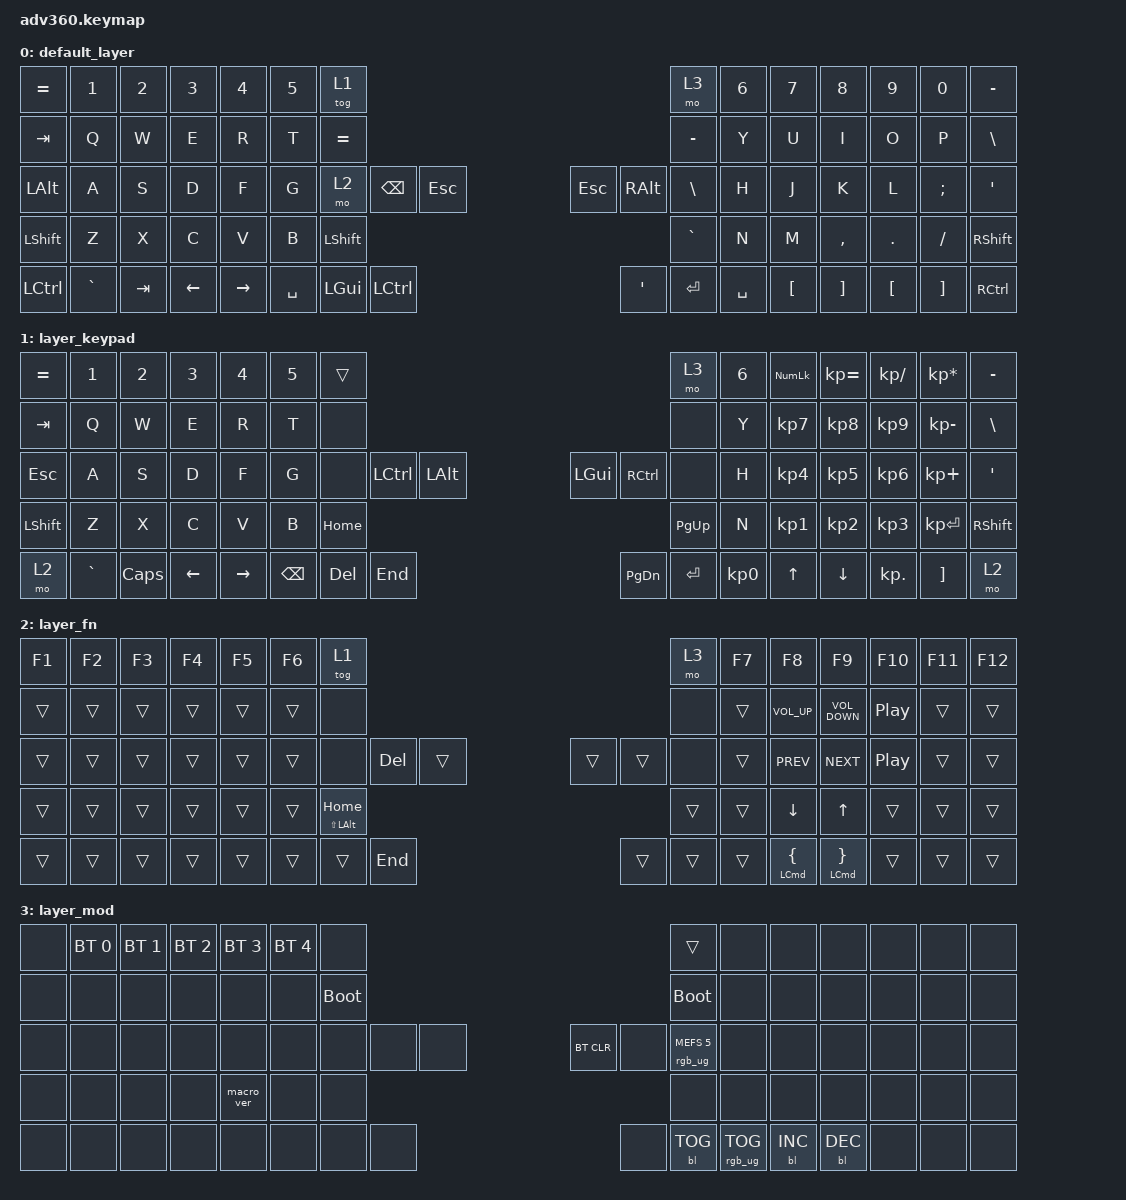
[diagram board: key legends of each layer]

/*
 * Copyright (c) 2020 The ZMK Contributors
 *
 * SPDX-License-Identifier: MIT
 */


/* THIS FILE WAS GENERATED!
 *
 * This file was generated automatically. You may or may not want to
 * edit it directly.
 */

#include <behaviors.dtsi>
#include <dt-bindings/zmk/keys.h>
#include <dt-bindings/zmk/bt.h>
#include <dt-bindings/zmk/rgb.h>
#include <dt-bindings/zmk/backlight.h>

/ {
  behaviors {
    #include "macros.dtsi"
    #include "version.dtsi"

    hm: homerow_mods {
        compatible = "zmk,behavior-hold-tap";
        label = "HOMEROW_MODS";
        #binding-cells = <2>;
        tapping-term-ms = <200>;
        quick_tap_ms = <175>;
        flavor = "tap-preferred";
        bindings = <&kp>, <&kp>;
    };
  };

    keymap {
        compatible = "zmk,keymap";


        default_layer {
            bindings = <
        &kp EQUAL     &kp N1   &kp N2    &kp N3     &kp N4  &kp N5               &tog 1                                                                                            &mo 3  &kp N6            &kp N7             &kp N8    &kp N9    &kp N0  &kp MINUS
          &kp TAB      &kp Q    &kp W     &kp E      &kp R   &kp T            &kp EQUAL                                                                                        &kp MINUS   &kp Y             &kp U              &kp I     &kp O     &kp P   &kp BSLH
     &kp LEFT_ALT      &kp A    &kp S     &kp D      &kp F   &kp G                &mo 2  &kp BACKSPACE        &kp ESCAPE                           &kp ESC  &kp RIGHT_ALT  &kp BACKSLASH   &kp H             &kp J              &kp K     &kp L  &kp SEMI    &kp SQT
        &kp LSHFT      &kp Z    &kp X     &kp C      &kp V   &kp B                                        &kp LEFT_SHIFT                         &kp GRAVE                                 &kp N             &kp M          &kp COMMA   &kp DOT  &kp FSLH  &kp RSHFT
 &kp LEFT_CONTROL  &kp GRAVE  &kp TAB  &kp LEFT  &kp RIGHT                    &kp SPACE   &kp LEFT_GUI  &kp LEFT_CONTROL                  &kp SINGLE_QUOTE      &kp ENTER      &kp SPACE          &kp LEFT_BRACKET  &kp RIGHT_BRACKET  &kp LBKT  &kp RBKT  &kp RCTRL
            >;
        };

        layer_keypad {
            bindings = <
 &kp EQUAL     &kp N1    &kp N2    &kp N3     &kp N4  &kp N5              &trans                                                                 &mo 3  &kp N6  &kp KP_NUM  &kp KP_EQUAL  &kp KP_DIVIDE  &kp KP_MULTIPLY  &kp MINUS
   &kp TAB      &kp Q     &kp W     &kp E      &kp R   &kp T               &none                                                                 &none   &kp Y   &kp KP_N7     &kp KP_N8      &kp KP_N9     &kp KP_MINUS   &kp BSLH
   &kp ESC      &kp A     &kp S     &kp D      &kp F   &kp G               &none  &kp LCTRL  &kp LALT                   &kp LGUI  &kp RCTRL      &none   &kp H   &kp KP_N4     &kp KP_N5      &kp KP_N6      &kp KP_PLUS    &kp SQT
 &kp LSHFT      &kp Z     &kp X     &kp C      &kp V   &kp B                                 &kp HOME                  &kp PG_UP                         &kp N   &kp KP_N1     &kp KP_N2      &kp KP_N3     &kp KP_ENTER  &kp RSHFT
     &mo 2  &kp GRAVE  &kp CAPS  &kp LEFT  &kp RIGHT                    &kp BSPC    &kp DEL   &kp END                  &kp PG_DN  &kp ENTER  &kp KP_N0              &kp UP      &kp DOWN     &kp KP_DOT         &kp RBKT      &mo 2
            >;
        };

        layer_fn {
            bindings = <
 &kp F1  &kp F2  &kp F3  &kp F4  &kp F5  &kp F6            &tog 1                                                                      &mo 3  &kp F7                       &kp F8                        &kp F9           &kp F10  &kp F11  &kp F12
 &trans  &trans  &trans  &trans  &trans  &trans             &none                                                                      &none  &trans              &kp C_VOLUME_UP             &kp C_VOLUME_DOWN  &kp C_PLAY_PAUSE   &trans   &trans
 &trans  &trans  &trans  &trans  &trans  &trans             &none  &kp DELETE                 &trans                  &trans  &trans   &none  &trans                   &kp C_PREV                    &kp C_NEXT          &kp C_PP   &trans   &trans
 &trans  &trans  &trans  &trans  &trans  &trans                                &mt LS(LEFT_ALT) HOME                  &trans                  &trans                     &kp DOWN                        &kp UP            &trans   &trans   &trans
 &trans  &trans  &trans  &trans  &trans                    &trans      &trans                &kp END                  &trans  &trans  &trans          &mt LEFT_COMMAND LEFT_BRACE  &mt LEFT_COMMAND RIGHT_BRACE            &trans   &trans   &trans
            >;
        };

        layer_mod {
            bindings = <
  &none  &bt BT_SEL 0  &bt BT_SEL 1  &bt BT_SEL 2  &bt BT_SEL 3  &bt BT_SEL 4                  &none                                                                          &trans   &none       &none       &none   &none   &none   &none
  &none         &none         &none         &none         &none         &none            &bootloader                                                                     &bootloader   &none       &none       &none   &none   &none   &none
  &none         &none         &none         &none         &none         &none                  &none   &none   &none                  &bt BT_CLR       &none  &rgb_ug RGB_MEFS_CMD 5   &none       &none       &none   &none   &none   &none
  &none         &none         &none         &none    &macro_ver         &none                                  &none                       &none                                       &none       &none       &none   &none   &none   &none
  &none         &none         &none         &none         &none                                &none   &none   &none                       &none  &bl BL_TOG         &rgb_ug RGB_TOG          &bl BL_INC  &bl BL_DEC   &none   &none   &none
            >;
        };

    };
};
